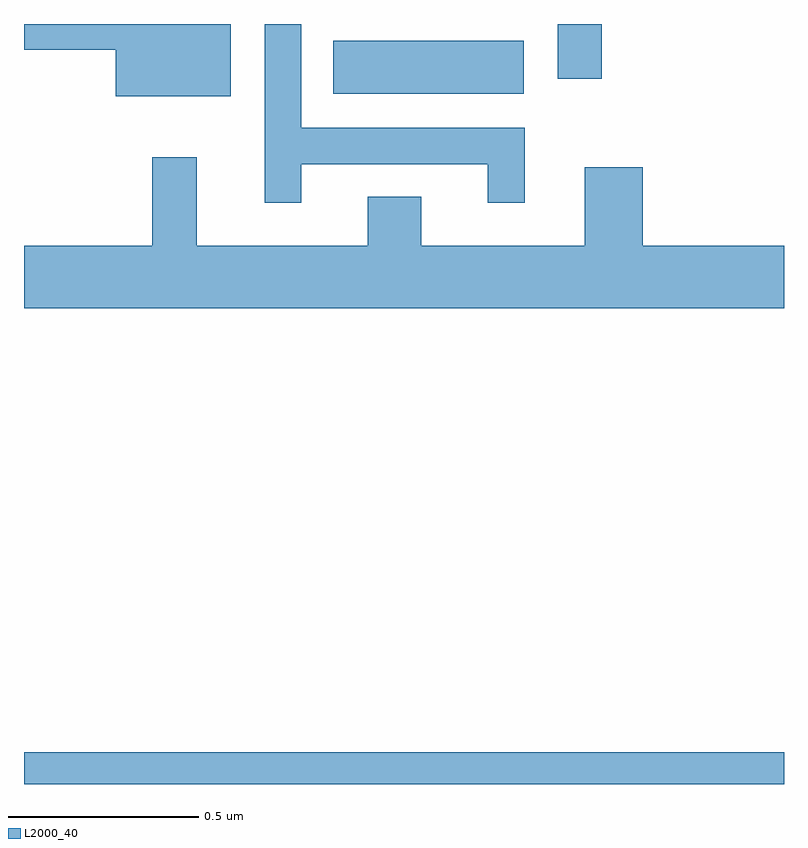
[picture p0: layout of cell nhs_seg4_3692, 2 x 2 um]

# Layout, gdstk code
import gdstk
lib = gdstk.Library(unit=1e-6, precision=1e-09)
def R(c, l, rs):  # rectangles x0, y0, x1, y1
    for r in rs: c.add(gdstk.rectangle(r[:2], r[2:], *l))
def P(c, l, *ps):  # polygons
    for p in ps: c.add(gdstk.Polygon(p, *l))
L2000_40 = (2000, 40)

nhs_seg4_3692 = lib.new_cell('nhs_seg4_3692')
R(nhs_seg4_3692, L2000_40, [(156,796.9,158,796.984), (156.814,798.716,157.315,798.856), (157.404,798.756,157.52,798.9)])
P(nhs_seg4_3692, L2000_40, [(156.73,798.531),(157.22,798.531),(157.22,798.429),(157.318,798.429),(157.318,798.627),(156.729,798.627),(156.729,798.9),(156.633,798.9),(156.633,798.429),(156.73,798.429)],
  [(156.544,798.9),(156,798.9),(156,798.832),(156.242,798.832),(156.242,798.71),(156.544,798.71)],
  [(158,798.316),(157.628,798.316),(157.628,798.523),(157.475,798.523),(157.475,798.316),(157.045,798.316),(157.045,798.446),(156.905,798.446),(156.905,798.316),(156.455,798.316),(156.455,798.55),(156.337,798.55),(156.337,798.316),(156,798.316),(156,798.152),(158,798.152)])

lib.write_gds('nhs_seg4_3692.gds')
